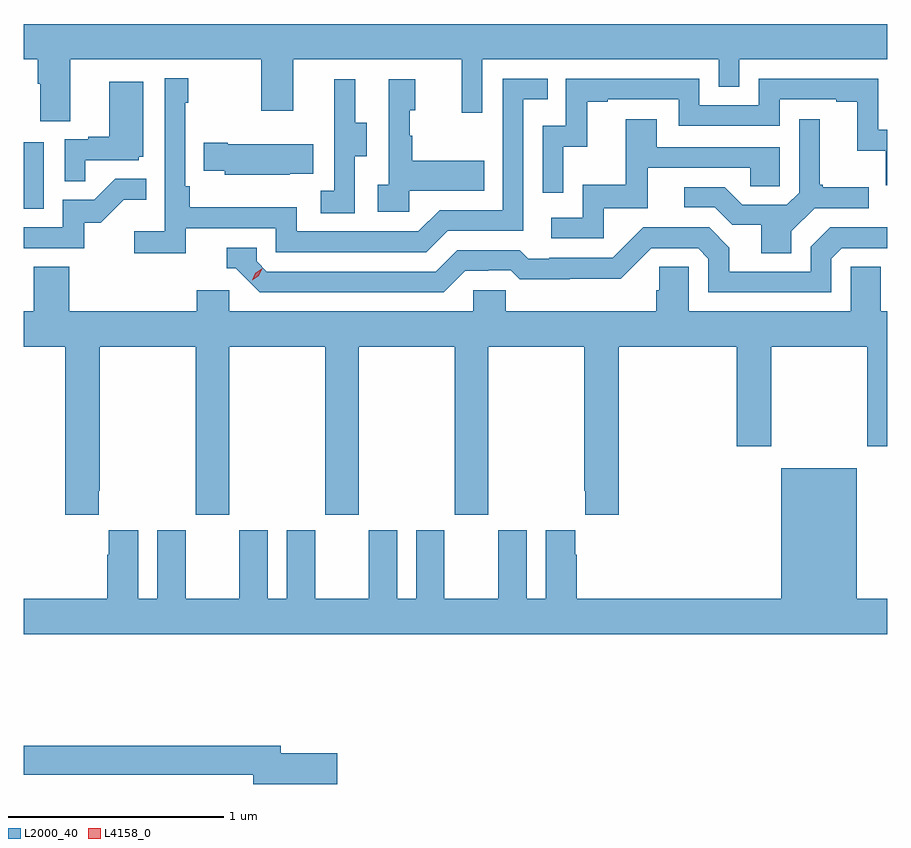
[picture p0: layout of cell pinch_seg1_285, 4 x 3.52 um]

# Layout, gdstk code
import gdstk
lib = gdstk.Library(unit=1e-6, precision=1e-09)
def R(c, l, rs):  # rectangles x0, y0, x1, y1
    for r in rs: c.add(gdstk.rectangle(r[:2], r[2:], *l))
def P(c, l, *ps):  # polygons
    for p in ps: c.add(gdstk.Polygon(p, *l))
L2000_40 = (2000, 40)
L4158_0 = (4158, 0)

pinch_seg1_285 = lib.new_cell('pinch_seg1_285')
R(pinch_seg1_285, L2000_40, [(896.882,549.708,896.974,550.015)])
P(pinch_seg1_285, L2000_40, [(897.097,550.4),(897.982,550.4),(897.982,550.161),(898.129,550.161),(898.129,550.4),(898.91,550.4),(898.91,550.152),(899.007,550.152),(899.007,550.4),(900.102,550.4),(900.102,550.273),(900.198,550.273),(900.198,550.4),(900.882,550.4),(900.882,550.564),(896.882,550.564),(896.882,550.4),(896.945,550.4),(896.945,550.288),(896.957,550.288),(896.957,550.114),(897.097,550.114)],
  [(897.632,549.618),(898.05,549.618),(898.05,549.507),(898.747,549.507),(898.846,549.606),(899.196,549.606),(899.196,550.215),(899.309,550.215),(899.309,550.311),(899.1,550.311),(899.1,549.702),(898.809,549.702),(898.71,549.603),(898.146,549.603),(898.146,549.715),(897.65,549.715),(897.65,549.811),(897.63,549.811),(897.63,550.199),(897.643,550.199),(897.643,550.312),(897.534,550.312),(897.534,549.604),(897.393,549.604),(897.393,549.502),(897.632,549.502)],
  [(899.382,549.995),(899.492,549.995),(899.492,550.203),(899.587,550.203),(899.587,550.215),(899.916,550.215),(899.916,550.092),(900.384,550.092),(900.384,550.215),(900.647,550.215),(900.647,550.203),(900.743,550.203),(900.743,549.977),(900.876,549.977),(900.876,549.816),(900.882,549.816),(900.882,550.075),(900.84,550.075),(900.84,550.311),(900.288,550.311),(900.288,550.188),(900.012,550.188),(900.012,550.311),(899.394,550.311),(899.394,550.092),(899.286,550.092),(899.286,549.783),(899.382,549.783)],
  [(898.416,549.952),(898.471,549.952),(898.471,550.107),(898.417,550.107),(898.417,550.309),(898.319,550.309),(898.319,550.095),(898.32,550.095),(898.32,549.791),(898.257,549.791),(898.257,549.688),(898.416,549.688)],
  [(898.668,549.791),(899.015,549.791),(899.015,549.931),(898.681,549.931),(898.681,550.046),(898.671,550.046),(898.671,550.164),(898.696,550.164),(898.696,550.309),(898.572,550.309),(898.572,549.818),(898.521,549.818),(898.521,549.693),(898.668,549.693)],
  [(897.167,549.933),(897.414,549.933),(897.414,549.948),(897.436,549.948),(897.436,550.297),(897.278,550.297),(897.278,550.042),(897.179,550.042),(897.179,550.029),(897.072,550.029),(897.072,549.835),(897.167,549.835)],
  [(900.439,549.604),(900.546,549.711),(900.796,549.711),(900.796,549.808),(900.583,549.808),(900.583,549.82),(900.571,549.82),(900.571,550.123),(900.474,550.123),(900.474,549.783),(900.417,549.726),(900.211,549.726),(900.13,549.807),(899.943,549.807),(899.943,549.714),(900.084,549.714),(900.164,549.634),(900.299,549.634),(900.299,549.502),(900.439,549.502)],
  [(899.568,549.711),(899.773,549.711),(899.773,549.897),(900.247,549.897),(900.247,549.813),(900.384,549.813),(900.384,549.993),(899.815,549.993),(899.815,550.123),(899.671,550.123),(899.671,549.82),(899.472,549.82),(899.472,549.666),(899.325,549.666),(899.325,549.57),(899.568,549.57)],
  [(898.115,549.869),(898.223,549.869),(898.223,550.006),(897.826,550.006),(897.826,550.014),(897.715,550.014),(897.715,549.884),(897.813,549.884),(897.813,549.866),(898.115,549.866)],
  [(897.162,549.642),(897.238,549.642),(897.345,549.749),(897.449,549.749),(897.449,549.848),(897.305,549.848),(897.207,549.75),(897.063,549.75),(897.063,549.621),(896.882,549.621),(896.882,549.525),(897.162,549.525)],
  [(898.927,549.42),(899.034,549.42),(899.034,549.423),(899.137,549.423),(899.179,549.381),(899.412,549.381),(899.412,549.383),(899.648,549.383),(899.79,549.525),(900.006,549.525),(900.054,549.477),(900.054,549.321),(900.624,549.321),(900.624,549.477),(900.672,549.525),(900.882,549.525),(900.882,549.623),(900.834,549.623),(900.834,549.621),(900.618,549.621),(900.528,549.531),(900.528,549.417),(900.151,549.417),(900.151,549.527),(900.057,549.621),(899.751,549.621),(899.61,549.48),(899.317,549.48),(899.317,549.477),(899.218,549.477),(899.179,549.516),(898.89,549.516),(898.791,549.417),(898.008,549.417),(897.96,549.465),(897.96,549.528),(897.821,549.528),(897.821,549.432),(897.864,549.432),(897.975,549.321),(898.828,549.321)],
  [(900.714,549.44),(900.714,549.232),(899.964,549.232),(899.964,549.44),(899.827,549.44),(899.827,549.33),(899.813,549.33),(899.813,549.232),(899.115,549.232),(899.115,549.33),(898.965,549.33),(898.965,549.232),(897.834,549.232),(897.834,549.33),(897.683,549.33),(897.683,549.232),(897.092,549.232),(897.092,549.44),(896.927,549.44),(896.927,549.232),(896.882,549.232),(896.882,549.068),(897.074,549.068),(897.074,548.289),(897.229,548.289),(897.229,548.401),(897.234,548.401),(897.234,549.068),(897.679,549.068),(897.679,548.289),(897.834,548.289),(897.834,549.068),(898.279,549.068),(898.279,548.289),(898.434,548.289),(898.434,549.068),(898.879,549.068),(898.879,548.289),(899.034,548.289),(899.034,549.068),(899.479,549.068),(899.479,548.401),(899.483,548.401),(899.483,548.289),(899.639,548.289),(899.639,549.068),(900.185,549.068),(900.185,548.607),(900.345,548.607),(900.345,549.068),(900.79,549.068),(900.79,548.607),(900.882,548.607),(900.882,549.232),(900.853,549.232),(900.853,549.44)],
  [(900.882,547.9),(900.742,547.9),(900.742,548.506),(900.392,548.506),(900.392,547.9),(899.444,547.9),(899.444,548.105),(899.437,548.105),(899.437,548.218),(899.3,548.218),(899.3,547.9),(899.212,547.9),(899.212,548.218),(899.081,548.218),(899.081,547.9),(898.831,547.9),(898.831,548.218),(898.7,548.218),(898.7,547.9),(898.612,547.9),(898.612,548.218),(898.481,548.218),(898.481,547.9),(898.231,547.9),(898.231,548.218),(898.1,548.218),(898.1,547.9),(898.012,547.9),(898.012,548.218),(897.881,548.218),(897.881,547.9),(897.631,547.9),(897.631,548.218),(897.5,548.218),(897.5,547.9),(897.412,547.9),(897.412,548.218),(897.275,548.218),(897.275,548.105),(897.269,548.105),(897.269,547.9),(896.882,547.9),(896.882,547.736),(900.882,547.736)],
  [(898.333,547.184),(898.072,547.184),(898.072,547.22),(896.882,547.22),(896.882,547.084),(897.944,547.084),(897.944,547.042),(898.333,547.042)])
P(pinch_seg1_285, L4158_0, [(897.94,549.377),(897.94,549.377),(897.955,549.41),(897.985,549.429),(897.986,549.429),(897.986,549.429),(897.97,549.397),(897.94,549.377)])

lib.write_gds('pinch_seg1_285.gds')
